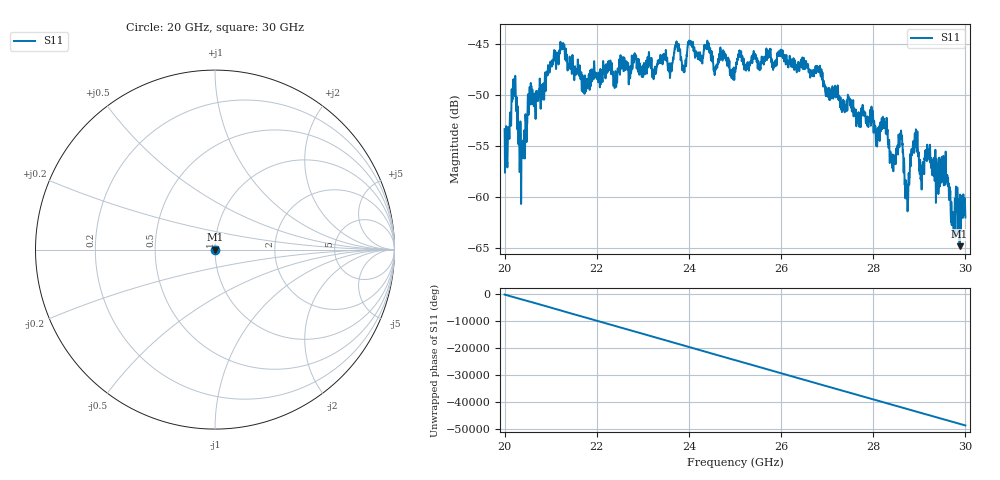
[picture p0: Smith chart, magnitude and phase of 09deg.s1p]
#  HZ  S  RI  R  50.00
! Rohde & Schwarz ZVA40 4Ports - Version 3.90 - 1145.1110k42 SN: 100403
! Date: 2023-10-03 10:22:51
! Measurement: S12
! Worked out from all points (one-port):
!   5001 points, 20 GHz to 30 GHz, reference 50 ohm
!   lowest |S11| = -64.8 dB at 29.87 GHz (marker M1), VSWR 1.00, Z = 50 - j0.0394 ohm
!   |S11| at or under -10 dB: start of sweep to end of sweep
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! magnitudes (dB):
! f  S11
! 20 GHz  -53.3
! 20.09 GHz  -53.3
! 20.2 GHz  -49.4
! 20.4 GHz  -55.2
! 20.55 GHz  -50.2
! 21.25 GHz  -45.5
! 21.72 GHz  -48.7
! 22.5 GHz  -47.8
! 23.59 GHz  -48.4
! 23.75 GHz  -45.2
! 23.89 GHz  -47.8
! 24.03 GHz  -44.8
! 25 GHz  -47.4
! 26.25 GHz  -46.7
! 27.5 GHz  -50.6
! 28.1 GHz  -53.3
! 28.25 GHz  -52.9
! 28.4 GHz  -56.0
! 28.59 GHz  -54.1
! 28.75 GHz  -60.6
! 28.91 GHz  -54.5
! 29.04 GHz  -58.4
! 29.18 GHz  -55.3
! 29.4 GHz  -56.8
! 29.53 GHz  -58.1
! 29.73 GHz  -61.7
! 29.87 GHz  -64.8
! 30 GHz  -62.0
